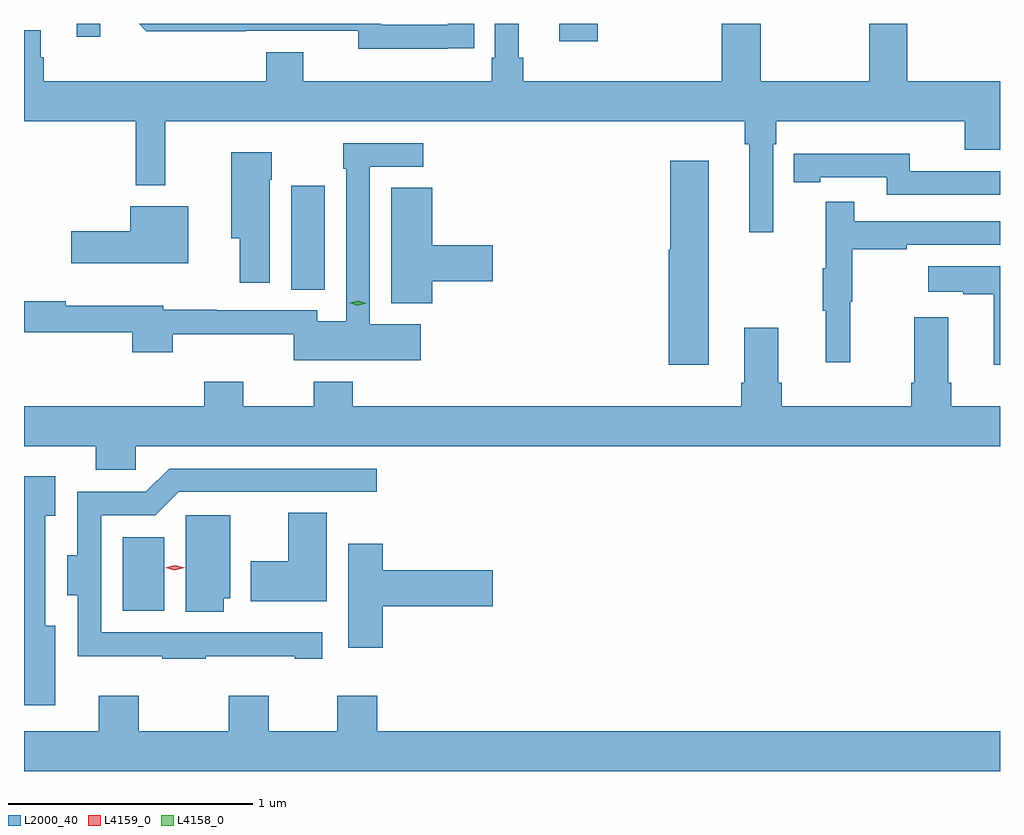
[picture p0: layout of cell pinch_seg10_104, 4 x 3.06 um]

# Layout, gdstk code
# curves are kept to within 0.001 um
import gdstk
lib = gdstk.Library(unit=1e-6, precision=1e-09)
def R(c, l, rs):  # rectangles x0, y0, x1, y1
    for r in rs: c.add(gdstk.rectangle(r[:2], r[2:], *l))
def P(c, l, *ps):  # polygons
    for p in ps: c.add(gdstk.Polygon(p, *l))
L2000_40 = (2000, 40)
L4158_0 = (4158, 0)
L4159_0 = (4159, 0)

pinch_seg10_104 = lib.new_cell('pinch_seg10_104')
R(pinch_seg10_104, L2000_40, [(681.92,1295.645,682.09,1295.947), (682.61,1296.961,682.747,1297.387), (683.708,1297.98,683.867,1298.05), (681.731,1297.998,681.828,1298.05)])
P(pinch_seg10_104, L2000_40, [(684.585,1297.556),(684.599,1297.556),(684.599,1297.652),(685.37,1297.652),(685.37,1297.535),(685.515,1297.535),(685.515,1297.816),(685.134,1297.816),(685.134,1298.05),(684.979,1298.05),(684.979,1297.816),(684.534,1297.816),(684.534,1298.05),(684.374,1298.05),(684.374,1297.816),(683.561,1297.816),(683.561,1297.912),(683.542,1297.912),(683.542,1298.05),(683.445,1298.05),(683.445,1297.912),(683.432,1297.912),(683.432,1297.816),(682.66,1297.816),(682.66,1297.933),(682.508,1297.933),(682.508,1297.816),(681.596,1297.816),(681.596,1297.914),(681.583,1297.914),(681.583,1298.024),(681.515,1298.024),(681.515,1297.652),(681.973,1297.652),(681.973,1297.389),(682.094,1297.389),(682.094,1297.652),(684.469,1297.652),(684.469,1297.556),(684.488,1297.556),(684.488,1297.197),(684.585,1297.197)],
  [(683.252,1297.95),(683.36,1297.95),(683.36,1298.05),(683.252,1298.05),(683.252,1298.046),(682.98,1298.046),(682.98,1298.05),(681.987,1298.05),(682.016,1298.021),(682.884,1298.022),(682.884,1297.949)],
  [(683.14,1296.82),(682.932,1296.82),(682.932,1297.464),(683.152,1297.464),(683.152,1297.56),(682.824,1297.56),(682.824,1297.457),(682.836,1297.457),(682.836,1296.832),(682.716,1296.832),(682.716,1296.876),(682.304,1296.876),(682.304,1296.878),(682.086,1296.878),(682.086,1296.895),(681.686,1296.895),(681.686,1296.914),(681.515,1296.914),(681.515,1296.786),(681.959,1296.786),(681.959,1296.704),(682.124,1296.704),(682.124,1296.779),(682.62,1296.779),(682.62,1296.671),(683.14,1296.671)],
  [(682.522,1297.412),(682.53,1297.412),(682.53,1297.525),(682.364,1297.525),(682.364,1297.172),(682.4,1297.172),(682.4,1296.99),(682.522,1296.99)],
  [(685.515,1297.446),(685.146,1297.446),(685.146,1297.519),(684.778,1297.519),(684.778,1297.518),(684.67,1297.518),(684.67,1297.402),(684.778,1297.402),(684.778,1297.422),(685.05,1297.422),(685.05,1297.35),(685.515,1297.35)],
  [(684.322,1297.489),(684.164,1297.489),(684.164,1297.125),(684.158,1297.125),(684.158,1296.654),(684.322,1296.654)],
  [(683.188,1296.995),(683.437,1296.995),(683.437,1297.142),(683.188,1297.142),(683.188,1297.379),(683.021,1297.379),(683.021,1296.905),(683.188,1296.905)],
  [(684.902,1296.912),(684.91,1296.912),(684.91,1297.126),(685.133,1297.126),(685.133,1297.146),(685.515,1297.146),(685.515,1297.242),(684.917,1297.242),(684.917,1297.321),(684.8,1297.321),(684.8,1297.049),(684.789,1297.049),(684.789,1296.875),(684.8,1296.875),(684.8,1296.663),(684.902,1296.663)],
  [(682.189,1297.303),(681.95,1297.303),(681.95,1297.2),(681.708,1297.2),(681.708,1297.07),(682.189,1297.07)],
  [(685.515,1297.057),(685.221,1297.057),(685.221,1296.953),(685.364,1296.953),(685.364,1296.943),(685.49,1296.943),(685.49,1296.654),(685.515,1296.654)],
  [(681.515,1296.32),(681.809,1296.32),(681.809,1296.222),(681.972,1296.222),(681.972,1296.32),(685.515,1296.32),(685.515,1296.484),(685.316,1296.484),(685.316,1296.58),(685.303,1296.58),(685.303,1296.847),(685.163,1296.847),(685.163,1296.58),(685.151,1296.58),(685.151,1296.484),(684.62,1296.484),(684.62,1296.58),(684.607,1296.58),(684.607,1296.805),(684.467,1296.805),(684.467,1296.58),(684.455,1296.58),(684.455,1296.484),(682.862,1296.484),(682.862,1296.583),(682.702,1296.583),(682.702,1296.484),(682.413,1296.484),(682.413,1296.583),(682.253,1296.583),(682.253,1296.484),(681.515,1296.484)],
  [(682.259,1295.459),(682.625,1295.459),(682.625,1295.448),(682.738,1295.448),(682.738,1295.556),(681.831,1295.556),(681.831,1296.036),(682.053,1296.036),(682.149,1296.132),(682.96,1296.132),(682.96,1296.228),(682.11,1296.228),(682.014,1296.132),(681.734,1296.132),(681.734,1295.872),(681.692,1295.872),(681.692,1295.708),(681.735,1295.708),(681.735,1295.459),(682.081,1295.459),(682.081,1295.448),(682.259,1295.448)],
  [(681.643,1295.584),(681.603,1295.584),(681.603,1296.035),(681.643,1296.035),(681.643,1296.196),(681.515,1296.196),(681.515,1295.258),(681.643,1295.258)],
  [(682.756,1296.047),(682.598,1296.047),(682.598,1295.848),(682.445,1295.848),(682.445,1295.684),(682.756,1295.684)],
  [(682.333,1295.697),(682.36,1295.697),(682.36,1296.036),(682.178,1296.036),(682.178,1295.641),(682.333,1295.641)],
  [(682.985,1295.663),(683.437,1295.663),(683.437,1295.81),(682.985,1295.81),(682.985,1295.92),(682.844,1295.92),(682.844,1295.493),(682.985,1295.493)],
  [(685.515,1295.152),(682.963,1295.152),(682.963,1295.296),(682.799,1295.296),(682.799,1295.152),(682.519,1295.152),(682.519,1295.296),(682.355,1295.296),(682.355,1295.152),(681.985,1295.152),(681.985,1295.296),(681.821,1295.296),(681.821,1295.152),(681.515,1295.152),(681.515,1294.988),(685.515,1294.988)])
P(pinch_seg10_104, L4158_0, [(682.883,1296.896),(682.849,1296.907),(682.849,1296.907),(682.849,1296.907),(682.884,1296.916),(682.918,1296.905),(682.918,1296.905),(682.918,1296.905)])
P(pinch_seg10_104, L4159_0, [(682.133,1295.811),(682.093,1295.821),(682.093,1295.821),(682.093,1295.821),(682.133,1295.831),(682.173,1295.822),(682.173,1295.822),(682.173,1295.821)])

lib.write_gds('pinch_seg10_104.gds')
